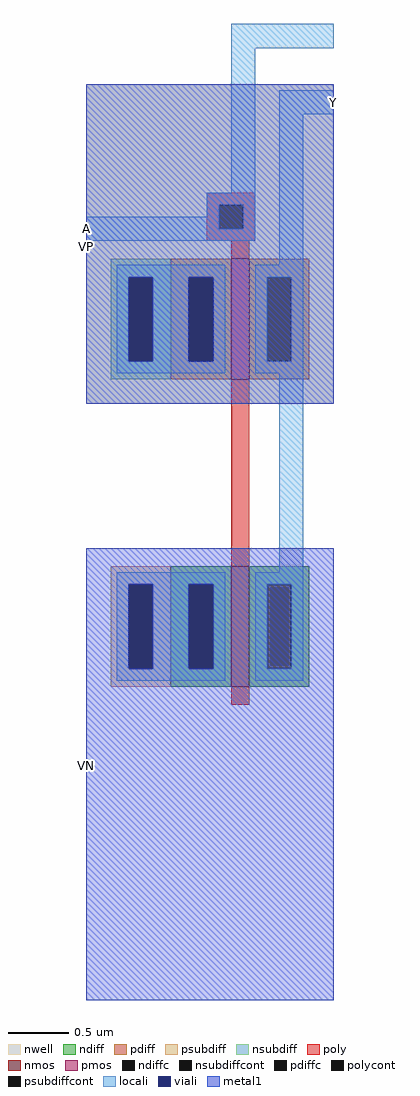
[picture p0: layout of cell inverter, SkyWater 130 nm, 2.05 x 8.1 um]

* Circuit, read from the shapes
.subckt inverter A VP VN Y
XM1 Y A VN VN sky130_fd_pr__nfet_01v8 w=1 l=0.15
XM2 Y A VP VP sky130_fd_pr__pfet_01v8 w=1 l=0.15
.ends

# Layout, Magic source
magic
tech sky130A
<< nwell >>
rect 280 570 485 835
<< nmos >>
rect 400 335 415 435
<< pmos >>
rect 400 590 415 690
<< ndiff >>
rect 350 420 400 435
rect 350 350 365 420
rect 385 350 400 420
rect 350 335 400 350
rect 415 420 465 435
rect 415 350 430 420
rect 450 350 465 420
rect 415 335 465 350
<< pdiff >>
rect 350 675 400 690
rect 350 605 365 675
rect 385 605 400 675
rect 350 590 400 605
rect 415 675 465 690
rect 415 605 430 675
rect 450 605 465 675
rect 415 590 465 605
<< ndiffc >>
rect 365 350 385 420
rect 430 350 450 420
<< pdiffc >>
rect 365 605 385 675
rect 430 605 450 675
<< psubdiff >>
rect 300 420 350 435
rect 300 350 315 420
rect 335 350 350 420
rect 300 335 350 350
<< nsubdiff >>
rect 300 675 350 690
rect 300 605 315 675
rect 335 605 350 675
rect 300 590 350 605
<< psubdiffcont >>
rect 315 350 335 420
<< nsubdiffcont >>
rect 315 605 335 675
<< poly >>
rect 380 735 420 745
rect 380 715 390 735
rect 410 715 420 735
rect 380 705 420 715
rect 400 690 415 705
rect 400 435 415 590
rect 400 320 415 335
<< polycont >>
rect 390 715 410 735
<< locali >>
rect 400 865 485 885
rect 400 745 420 865
rect 380 735 420 745
rect 380 725 390 735
rect 280 715 390 725
rect 410 715 420 735
rect 280 705 420 715
rect 440 810 485 830
rect 440 685 460 810
rect 305 675 395 685
rect 305 605 315 675
rect 335 605 365 675
rect 385 605 395 675
rect 305 595 395 605
rect 420 675 460 685
rect 420 605 430 675
rect 450 605 460 675
rect 420 595 460 605
rect 440 430 460 595
rect 305 420 395 430
rect 305 350 315 420
rect 335 350 365 420
rect 385 350 395 420
rect 305 340 395 350
rect 420 420 460 430
rect 420 350 430 420
rect 450 350 460 420
rect 420 340 460 350
<< viali >>
rect 315 605 335 675
rect 365 605 385 675
rect 315 350 335 420
rect 365 350 385 420
<< metal1 >>
rect 280 675 485 835
rect 280 605 315 675
rect 335 605 365 675
rect 385 605 485 675
rect 280 570 485 605
rect 280 420 485 450
rect 280 350 315 420
rect 335 350 365 420
rect 385 350 485 420
rect 280 75 485 350
<< labels >>
rlabel locali 280 715 280 715 7 A
port 1 w
rlabel metal1 280 700 280 700 7 VP
port 2 w
rlabel metal1 280 270 280 270 7 VN
port 3 w
rlabel locali 485 820 485 820 3 Y
port 4 e
<< end >>
